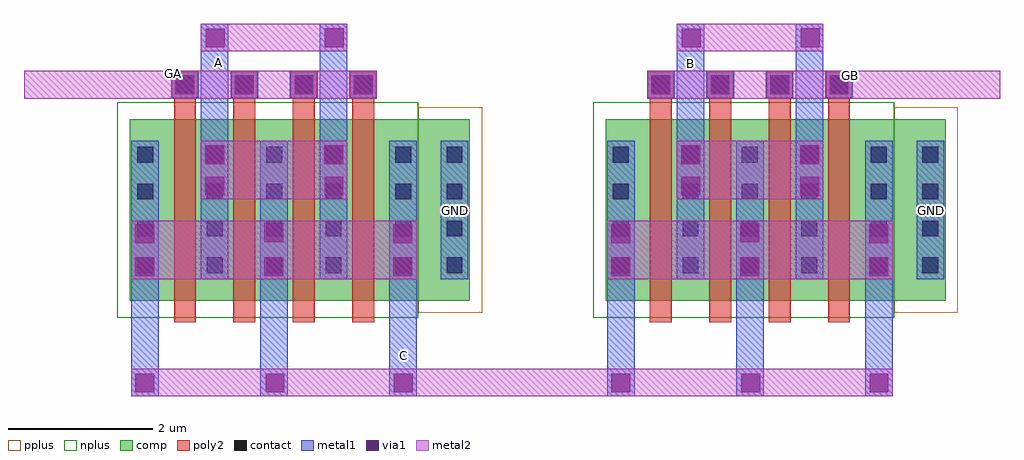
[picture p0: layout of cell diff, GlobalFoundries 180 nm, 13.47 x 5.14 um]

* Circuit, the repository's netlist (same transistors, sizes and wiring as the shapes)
** sch_path: /workspaces/DC23-LTC2/LDO/xschem/isource/diff.sch
.subckt diff GA GB A B C GND
*.PININFO GA:I GB:I A:I B:I C:I GND:I
M1 A GA C GND nfet_03v3 L=0.3u W=10u nf=1 m=1
M2 B GB C GND nfet_03v3 L=0.3u W=10u nf=1 m=1
.ends
.end

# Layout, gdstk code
import gdstk
lib = gdstk.Library(unit=1e-6, precision=1e-09)
def R(c, l, rs):  # rectangles x0, y0, x1, y1
    for r in rs: c.add(gdstk.rectangle(r[:2], r[2:], *l))
def A(c, l, x, y, w, h, nx, ny, dx, dy):  # array of equal rectangles
    R(c, l, [(x+i*dx, y+j*dy, x+i*dx+w, y+j*dy+h) for i in range(nx) for j in range(ny)])
comp = (22, 0)
poly2 = (30, 0)
pplus = (31, 0)
nplus = (32, 0)
contact = (33, 0)
metal1 = (34, 0)
via1 = (35, 0)
metal2 = (36, 0)

nfet_1 = lib.new_cell('nfet$1')
R(nfet_1, comp, [(-0.42,0,0,2.5), (0,0,3.14,2.5), (3.14,0,3.56,2.5), (3.56,0,4.27,2.5)])
A(nfet_1, poly2, 0.19, -0.3, 0.3, 3.1, 4, 1, 0.82, 0)
A(nfet_1, poly2, 0.16, 2.8, 0.36, 0.36, 4, 1, 0.82, 0)
R(nfet_1, pplus, [(3.56,-0.17,4.44,2.67)])
R(nfet_1, nplus, [(-0.59,-0.24,3.56,2.74)])
A(nfet_1, contact, -0.32, 0.375, 0.22, 0.22, 1, 4, 0, 0.51)
A(nfet_1, contact, 0.64, 0.375, 0.22, 0.22, 3, 4, 0.82, 0.51)
A(nfet_1, contact, 3.24, 0.375, 0.22, 0.22, 1, 4, 0, 0.51)
A(nfet_1, contact, 3.95, 0.375, 0.22, 0.22, 1, 4, 0, 0.51)
A(nfet_1, contact, 0.23, 2.87, 0.22, 0.22, 4, 1, 0.82, 0)
A(nfet_1, metal1, 0.56, 0.295, 0.38, 1.91, 3, 1, 0.82, 0)
A(nfet_1, metal1, 0.15, 2.789, 0.38, 0.382, 4, 1, 0.82, 0)
R(nfet_1, metal1, [(-0.4,0.295,-0.02,2.205), (3.16,0.295,3.54,2.205), (3.87,0.295,4.25,2.205)])

diff = lib.new_cell('diff')
A(diff, via1, -10.863, 6.267, 0.26, 0.26, 3, 1, 1.78, 0)
A(diff, via1, -4.297, 6.267, 0.26, 0.26, 3, 1, 1.78, 0)
R(diff, via1, [(-10.863,4.663,-10.603,4.923), (-9.067,4.663,-8.807,4.923), (-7.299,4.663,-7.039,4.923), (-4.297,4.663,-4.037,4.923), (-2.501,4.663,-2.241,4.923), (-0.733,4.663,-0.473,4.923), (-7.303,6.721,-7.043,6.981), (-0.737,6.721,-0.477,6.981), (-10.863,6.723,-10.603,6.983), (-4.297,6.723,-4.037,6.983), (-9.083,6.734,-8.823,6.994), (-2.517,6.734,-2.257,6.994), (-8.253,7.379,-7.993,7.639), (-1.687,7.379,-1.427,7.639), (-9.899,7.38,-9.639,7.64), (-3.333,7.38,-3.073,7.64), (-9.899,7.813,-9.639,8.073), (-8.257,7.813,-7.997,8.073), (-3.333,7.813,-3.073,8.073), (-1.691,7.813,-1.431,8.073), (-10.31,8.775,-10.05,9.035), (-9.493,8.775,-9.233,9.035), (-8.667,8.775,-8.407,9.035), (-7.851,8.775,-7.591,9.035), (-3.744,8.775,-3.484,9.035), (-2.927,8.775,-2.667,9.035), (-2.101,8.775,-1.841,9.035), (-1.285,8.775,-1.025,9.035), (-9.892,9.423,-9.632,9.683), (-3.326,9.423,-3.066,9.683), (-8.25,9.426,-7.99,9.686), (-1.684,9.426,-1.424,9.686)])
R(diff, metal2, [(-10.92,6.224,-6.98,7.034), (-4.354,6.224,-0.414,7.034), (-9.96,7.324,-7.94,8.134), (-3.394,7.324,-1.374,8.134), (-12.4,8.714,-7.53,9.1), (-3.804,8.714,1.066,9.1)])
diff.add(gdstk.FlexPath([(-8.13,8.134),(-8.13,9.751)], 0.38, ends="flush", simple_path=True, layer=34, datatype=0))  # metal1
diff.add(gdstk.FlexPath([(-10.73,4.607),(-10.73,6.224)], 0.38, ends="flush", simple_path=True, layer=34, datatype=0))  # metal1
diff.add(gdstk.FlexPath([(-9.77,8.134),(-9.77,9.751)], 0.38, ends="flush", simple_path=True, layer=34, datatype=0))  # metal1
diff.add(gdstk.FlexPath([(-8.95,4.607),(-8.95,6.224)], 0.38, ends="flush", simple_path=True, layer=34, datatype=0))  # metal1
diff.add(gdstk.FlexPath([(-7.17,4.607),(-7.17,6.224)], 0.38, ends="flush", simple_path=True, layer=34, datatype=0))  # metal1
diff.add(gdstk.FlexPath([(-1.564,8.134),(-1.564,9.751)], 0.38, ends="flush", simple_path=True, layer=34, datatype=0))  # metal1
diff.add(gdstk.FlexPath([(-4.164,4.607),(-4.164,6.224)], 0.38, ends="flush", simple_path=True, layer=34, datatype=0))  # metal1
diff.add(gdstk.FlexPath([(-3.204,8.134),(-3.204,9.751)], 0.38, ends="flush", simple_path=True, layer=34, datatype=0))  # metal1
diff.add(gdstk.FlexPath([(-2.384,4.607),(-2.384,6.224)], 0.38, ends="flush", simple_path=True, layer=34, datatype=0))  # metal1
diff.add(gdstk.FlexPath([(-0.604,4.607),(-0.604,6.224)], 0.38, ends="flush", simple_path=True, layer=34, datatype=0))  # metal1
diff.add(gdstk.FlexPath([(-7.94,9.561),(-9.96,9.561)], 0.38, ends="flush", simple_path=True, layer=36, datatype=0))  # metal2
diff.add(gdstk.FlexPath([(-6.98,4.797),(-10.92,4.797)], 0.38, ends="flush", simple_path=True, layer=36, datatype=0))  # metal2
diff.add(gdstk.FlexPath([(-1.374,9.561),(-3.394,9.561)], 0.38, ends="flush", simple_path=True, layer=36, datatype=0))  # metal2
diff.add(gdstk.FlexPath([(-0.414,4.797),(-4.354,4.797)], 0.38, ends="flush", simple_path=True, layer=36, datatype=0))  # metal2
diff.add(gdstk.FlexPath([(-6.982,4.797),(-4.354,4.797)], 0.38, ends="flush", simple_path=True, layer=36, datatype=0))  # metal2
diff.add(gdstk.Reference(nfet_1, (-3.954,5.929)))
diff.add(gdstk.Reference(nfet_1, (-10.52,5.929)))
diff.add(gdstk.Label('A', (-9.712,9.209), layer=34, texttype=10))
diff.add(gdstk.Label('B', (-3.204,9.204), layer=34, texttype=10))
diff.add(gdstk.Label('C', (-7.17,5.174), layer=34, texttype=10))
diff.add(gdstk.Label('GA', (-10.334,9.058), layer=34, texttype=10))
diff.add(gdstk.Label('GB', (-0.998,9.041), layer=34, texttype=10))
diff.add(gdstk.Label('GND', (-6.453,7.178), layer=34, texttype=10))
diff.add(gdstk.Label('GND', (0.126,7.179), layer=34, texttype=10))

lib.write_gds('diff.gds')
